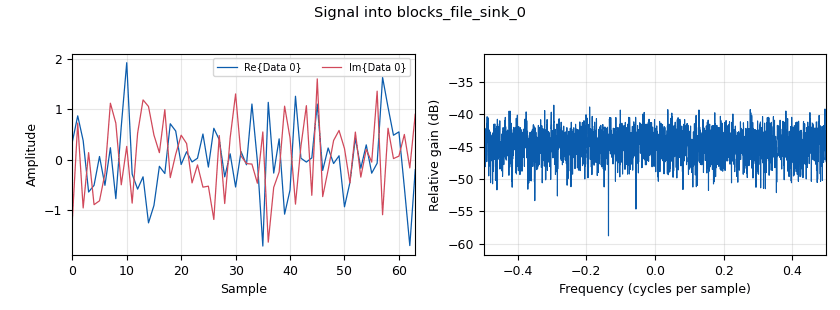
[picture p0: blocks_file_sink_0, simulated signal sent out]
options:
  parameters:
    generate_options: no_gui
    id: ornl_1
    output_language: python
    run_options: run
  states: {}

blocks:
- name: samp_rate
  id: variable
  parameters:
    value: '32000'
  states: {}
- name: analog_noise_source_x_0
  id: analog_noise_source_x
  parameters:
    amp: '1'
    noise_type: analog.GR_GAUSSIAN
    seed: '0'
    type: complex
  states: {}
- name: blocks_complex_to_arg_0
  id: blocks_complex_to_arg
  parameters: {}
  states: {}
- name: blocks_complex_to_mag_0
  id: blocks_complex_to_mag
  parameters: {}
  states: {}
- name: blocks_complex_to_magphase_0
  id: blocks_complex_to_magphase
  parameters: {}
  states: {}
- name: blocks_file_sink_0
  id: blocks_file_sink
  parameters:
    file: ornl_1.bin
    type: complex
  states: {}
- name: blocks_head_0
  id: blocks_head
  parameters:
    num_items: 50*samp_rate
    type: complex
  states: {}
- name: blocks_magphase_to_complex_0
  id: blocks_magphase_to_complex
  parameters: {}
  states: {}
- name: blocks_magphase_to_complex_1
  id: blocks_magphase_to_complex
  parameters: {}
  states: {}
- name: blocks_throttle_0
  id: blocks_throttle
  parameters:
    samples_per_second: samp_rate
    type: complex
  states: {}

connections:
- [analog_noise_source_x_0, '0', blocks_throttle_0, '0']
- [blocks_complex_to_arg_0, '0', blocks_magphase_to_complex_1, '1']
- [blocks_complex_to_mag_0, '0', blocks_magphase_to_complex_1, '0']
- [blocks_complex_to_magphase_0, '0', blocks_magphase_to_complex_0, '0']
- [blocks_complex_to_magphase_0, '1', blocks_magphase_to_complex_0, '1']
- [blocks_head_0, '0', blocks_complex_to_magphase_0, '0']
- [blocks_magphase_to_complex_0, '0', blocks_complex_to_arg_0, '0']
- [blocks_magphase_to_complex_0, '0', blocks_complex_to_mag_0, '0']
- [blocks_magphase_to_complex_1, '0', blocks_file_sink_0, '0']
- [blocks_throttle_0, '0', blocks_head_0, '0']

metadata:
  file_format: 1
